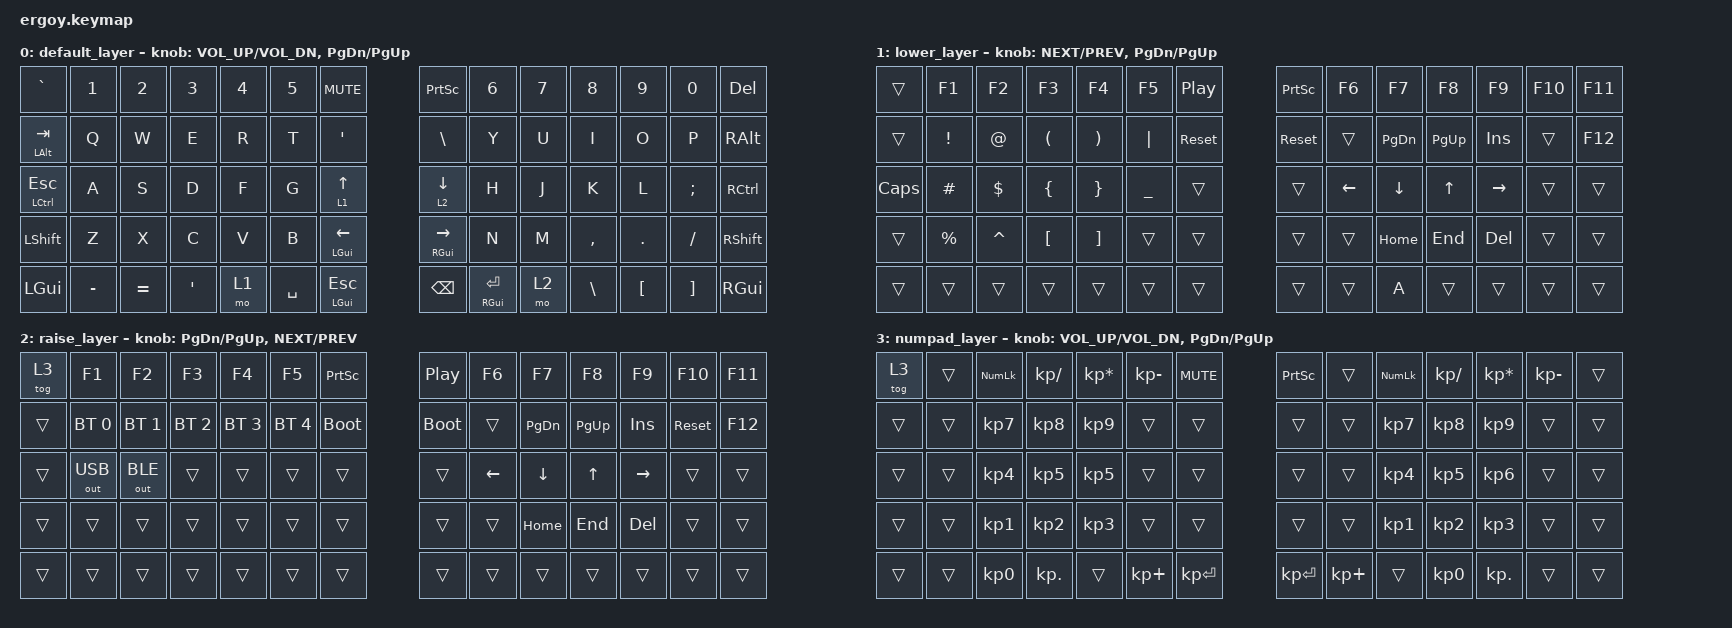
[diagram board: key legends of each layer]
/*
 * Copyright (c) 2020 The ZMK Contributors
 *
 * SPDX-License-Identifier: MIT
 */

#include <behaviors.dtsi>
#include <dt-bindings/zmk/bt.h>
#include <dt-bindings/zmk/keys.h>
#include <dt-bindings/zmk/outputs.h>

/ {
    keymap {
        compatible = "zmk,keymap";

        default_layer {
            bindings = <
&kp GRAVE      &kp N1     &kp N2     &kp N3            &kp N4  &kp N5     &kp C_MUTE           &kp PSCRN       &kp N6          &kp N7  &kp N8     &kp N9    &kp N0     &kp DEL
&mt LALT TAB   &kp Q      &kp W      &kp E             &kp R   &kp T      &kp SQT              &kp BSLH        &kp Y           &kp U   &kp I      &kp O     &kp P      &kp RALT
&mt LCTRL ESC  &kp A      &kp S      &kp D             &kp F   &kp G      &lt 1 UP_ARROW       &lt 2 DOWN      &kp H           &kp J   &kp K      &kp L     &kp SEMI   &kp RCTRL
&kp LSHFT      &kp Z      &kp X      &kp C             &kp V   &kp B      &mt LGUI LEFT_ARROW  &mt RGUI RIGHT  &kp N           &kp M   &kp COMMA  &kp DOT   &kp SLASH  &kp RSHIFT
&kp LGUI       &kp MINUS  &kp EQUAL  &kp SINGLE_QUOTE  &mo 1   &kp SPACE  &mt LGUI ESC         &kp BACKSPACE   &mt RGUI ENTER  &mo 2   &kp BSLH   &kp LBKT  &kp RBKT   &kp RGUI
            >;

            sensor-bindings = <&inc_dec_kp C_VOL_UP C_VOL_DN &inc_dec_kp PG_DN PAGE_UP>;
        };

        lower_layer {
            bindings = <
&trans        &kp F1     &kp F2      &kp F3            &kp F4                 &kp F5          &kp C_PP    &kp PSCRN   &kp F6    &kp F7     &kp F8     &kp F9     &kp F10  &kp F11
&trans        &kp EXCL   &kp AT      &kp LPAR          &kp RIGHT_PARENTHESIS  &kp PIPE        &sys_reset  &sys_reset  &trans    &kp PG_DN  &kp PG_UP  &kp INS    &trans   &kp F12
&kp CAPSLOCK  &kp HASH   &kp DOLLAR  &kp LEFT_BRACE    &kp RIGHT_BRACE        &kp UNDERSCORE  &trans      &trans      &kp LEFT  &kp DOWN   &kp UP     &kp RIGHT  &trans   &trans
&trans        &kp PRCNT  &kp CARET   &kp LEFT_BRACKET  &kp RIGHT_BRACKET      &trans          &trans      &trans      &trans    &kp HOME   &kp END    &kp DEL    &trans   &trans
&trans        &trans     &trans      &trans            &trans                 &trans          &trans      &trans      &trans    &kp A      &trans     &trans     &trans   &trans
            >;

            sensor-bindings = <&inc_dec_kp C_NEXT C_PREV &inc_dec_kp PG_DN PG_UP>;
        };

        raise_layer {
            bindings = <
&tog 3  &kp F1        &kp F2        &kp F3        &kp F4        &kp F5        &kp PSCRN    &kp C_PP     &kp F6    &kp F7     &kp F8     &kp F9     &kp F10     &kp F11
&trans  &bt BT_SEL 0  &bt BT_SEL 1  &bt BT_SEL 2  &bt BT_SEL 3  &bt BT_SEL 4  &bootloader  &bootloader  &trans    &kp PG_DN  &kp PG_UP  &kp INS    &sys_reset  &kp F12
&trans  &out OUT_USB  &out OUT_BLE  &trans        &trans        &trans        &trans       &trans       &kp LEFT  &kp DOWN   &kp UP     &kp RIGHT  &trans      &trans
&trans  &trans        &trans        &trans        &trans        &trans        &trans       &trans       &trans    &kp HOME   &kp END    &kp DEL    &trans      &trans
&trans  &trans        &trans        &trans        &trans        &trans        &trans       &trans       &trans    &trans     &trans     &trans     &trans      &trans
            >;

            sensor-bindings = <&inc_dec_kp PG_DN PG_UP &inc_dec_kp C_NEXT C_PREV>;
        };

        numpad_layer {
            bindings = <
&tog 3  &trans  &kp KP_NUMLOCK  &kp KP_DIVIDE  &kp KP_MULTIPLY  &kp KP_MINUS  &kp C_MUTE    &kp PSCRN     &trans       &kp KP_NUMLOCK  &kp KP_SLASH  &kp KP_MULTIPLY  &kp KP_MINUS  &trans
&trans  &trans  &kp KP_N7       &kp KP_N8      &kp KP_N9        &trans        &trans        &trans        &trans       &kp KP_N7       &kp KP_N8     &kp KP_N9        &trans        &trans
&trans  &trans  &kp KP_N4       &kp KP_N5      &kp KP_N5        &trans        &trans        &trans        &trans       &kp KP_N4       &kp KP_N5     &kp KP_N6        &trans        &trans
&trans  &trans  &kp KP_N1       &kp KP_N2      &kp KP_N3        &trans        &trans        &trans        &trans       &kp KP_N1       &kp KP_N2     &kp KP_N3        &trans        &trans
&trans  &trans  &kp KP_N0       &kp KP_DOT     &trans           &kp KP_PLUS   &kp KP_ENTER  &kp KP_ENTER  &kp KP_PLUS  &trans          &kp KP_N0     &kp KP_DOT       &trans        &trans
            >;

            sensor-bindings = <&inc_dec_kp C_VOL_UP C_VOL_DN &inc_dec_kp PG_DN PG_UP>;
        };
    };
};
